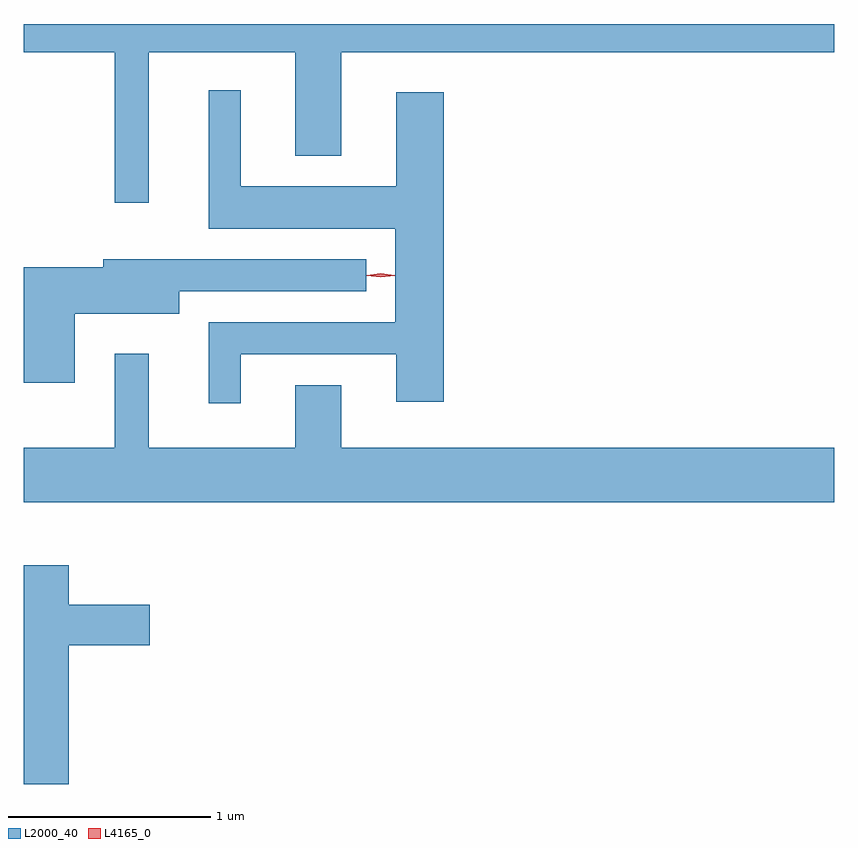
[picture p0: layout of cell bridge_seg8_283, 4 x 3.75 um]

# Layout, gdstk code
import gdstk
lib = gdstk.Library(unit=1e-6, precision=1e-09)
def P(c, l, *ps):  # polygons
    for p in ps: c.add(gdstk.Polygon(p, *l))
L2000_40 = (2000, 40)
L4165_0 = (4165, 0)

bridge_seg8_283 = lib.new_cell('bridge_seg8_283')
P(bridge_seg8_283, L2000_40, [(1295.302,1820.876),(1295.751,1820.876),(1295.751,1820.133),(1295.919,1820.133),(1295.919,1820.876),(1296.641,1820.876),(1296.641,1820.366),(1296.869,1820.366),(1296.869,1820.876),(1299.302,1820.876),(1299.302,1821.015),(1295.302,1821.015)],
  [(1296.374,1819.386),(1297.141,1819.386),(1297.141,1819.151),(1297.374,1819.151),(1297.374,1820.679),(1297.141,1820.679),(1297.141,1820.214),(1296.374,1820.214),(1296.374,1820.688),(1296.216,1820.688),(1296.216,1820.006),(1297.136,1820.006),(1297.136,1819.544),(1296.216,1819.544),(1296.216,1819.143),(1296.374,1819.143)],
  [(1295.554,1819.586),(1296.069,1819.586),(1296.069,1819.696),(1296.993,1819.696),(1296.993,1819.854),(1295.696,1819.854),(1295.696,1819.814),(1295.302,1819.814),(1295.302,1819.246),(1295.554,1819.246)],
  [(1299.302,1818.924),(1296.869,1818.924),(1296.869,1819.234),(1296.641,1819.234),(1296.641,1818.924),(1295.919,1818.924),(1295.919,1819.388),(1295.751,1819.388),(1295.751,1818.924),(1295.302,1818.924),(1295.302,1818.656),(1299.302,1818.656)],
  [(1295.524,1817.951),(1295.924,1817.951),(1295.924,1818.149),(1295.524,1818.149),(1295.524,1818.344),(1295.302,1818.344),(1295.302,1817.266),(1295.524,1817.266)])
P(bridge_seg8_283, L4165_0, [(1297.063,1819.765),(1296.997,1819.774),(1296.997,1819.775),(1296.997,1819.775),(1297.063,1819.785),(1297.129,1819.775),(1297.129,1819.775),(1297.129,1819.774)],
  [(1297.063,1819.765),(1296.994,1819.774),(1296.994,1819.775),(1296.994,1819.775),(1297.063,1819.785),(1297.132,1819.775),(1297.132,1819.775),(1297.132,1819.774)])

lib.write_gds('bridge_seg8_283.gds')
